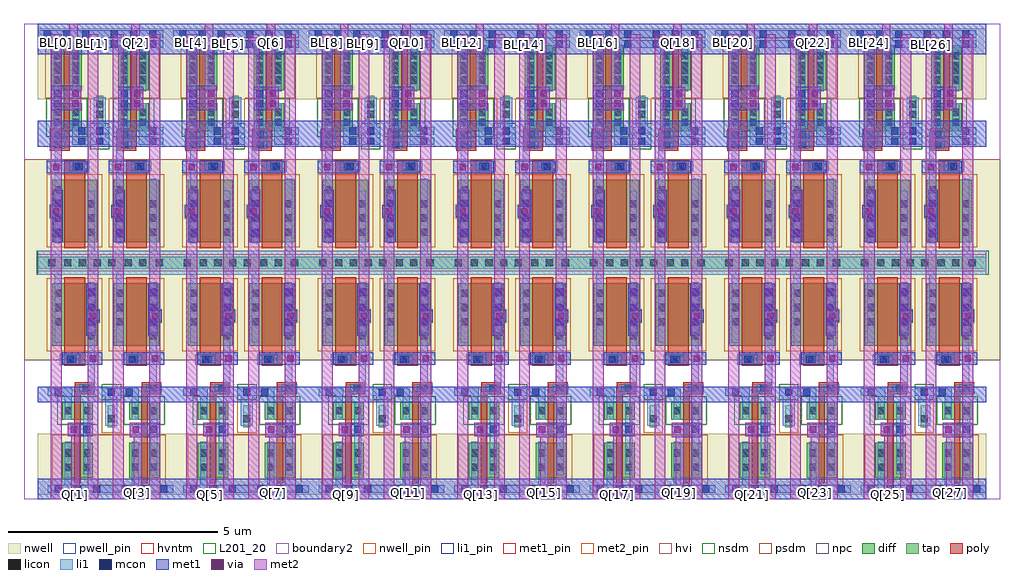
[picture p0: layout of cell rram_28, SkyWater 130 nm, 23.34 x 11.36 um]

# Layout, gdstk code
from math import pi, radians
import gdstk
lib = gdstk.Library(unit=1e-6, precision=1e-09)
def R(c, l, rs):  # rectangles x0, y0, x1, y1
    for r in rs: c.add(gdstk.rectangle(r[:2], r[2:], *l))
nwell_pin = (64, 16)
nwell = (64, 20)
diff = (65, 20)
tap = (65, 44)
poly = (66, 20)
licon = (66, 44)
li1_pin = (67, 16)
li1 = (67, 20)
mcon = (67, 44)
met1_pin = (68, 16)
met1 = (68, 20)
via = (68, 44)
met2_pin = (69, 16)
met2 = (69, 20)
hvi = (75, 20)
nsdm = (93, 44)
psdm = (94, 20)
npc = (95, 20)
pwell_pin = (122, 16)
hvntm = (125, 20)
L201_20 = (201, 20)
boundary2 = (236, 0)

rram_cell = lib.new_cell('rram_cell')
R(rram_cell, met1_pin, [(-0.16,-0.13,0.16,0.13), (-0.16,-0.13,0.16,0.13), (-0.16,-0.13,0.16,0.13), (-0.16,-0.13,0.16,0.13), (-0.16,-0.13,0.16,0.13), (-0.16,-0.13,0.16,0.13)])
R(rram_cell, met1, [(-0.16,-0.13,0.16,0.13), (-0.16,-0.13,0.16,0.13), (-0.16,-0.13,0.16,0.13), (-0.16,-0.13,0.16,0.13), (-0.16,-0.13,0.16,0.13), (-0.16,-0.13,0.16,0.13)])
R(rram_cell, via, [(-0.075,-0.075,0.075,0.075), (-0.075,-0.075,0.075,0.075)])
R(rram_cell, met2_pin, [(-0.13,-0.16,0.13,0.16), (-0.13,-0.16,0.13,0.16), (-0.13,-0.16,0.13,0.16), (-0.13,-0.16,0.13,0.16), (-0.13,-0.16,0.13,0.16), (-0.13,-0.16,0.13,0.16)])
R(rram_cell, met2, [(-0.13,-0.16,0.13,0.16), (-0.13,-0.16,0.13,0.16), (-0.13,-0.16,0.13,0.16), (-0.13,-0.16,0.13,0.16), (-0.13,-0.16,0.13,0.16), (-0.13,-0.16,0.13,0.16)])
R(rram_cell, L201_20, [(-0.16,-0.16,0.16,0.16), (-0.16,-0.16,0.16,0.16)])
rram_cell.add(gdstk.Label('TE', (0,0), layer=69, texttype=5))
rram_cell.add(gdstk.Label('TE', (0,0), layer=69, texttype=5))
rram_cell.add(gdstk.Label('BE', (0,0), layer=68, texttype=5))
rram_cell.add(gdstk.Label('BE', (0,0), layer=68, texttype=5))

hv_pfet = lib.new_cell('hv_pfet')
R(hv_pfet, nwell, [(-1.64,-2.3,2.26,2.5), (-1.64,-2.3,2.26,2.5)])
R(hv_pfet, diff, [(-0.97,-1.96,0.11,-0.46), (-0.97,-1.96,0.11,-0.46), (0.51,-1.96,1.59,-0.46), (0.51,-1.96,1.59,-0.46), (-0.97,0.52,0.11,2.02), (-0.97,0.52,0.11,2.02), (0.51,0.52,1.59,2.02), (0.51,0.52,1.59,2.02)])
R(hv_pfet, tap, [(-1.31,-0.115,1.93,0.175), (-1.31,-0.115,1.93,0.175)])
R(hv_pfet, poly, [(-0.68,-2.435,-0.18,-0.32), (-0.68,-2.435,-0.18,-0.32), (0.8,-2.435,1.3,-0.32), (0.8,-2.435,1.3,-0.32), (-0.68,0.38,-0.18,2.495), (-0.68,0.38,-0.18,2.495), (0.8,0.38,1.3,2.495), (0.8,0.38,1.3,2.495)])
R(hv_pfet, licon, [(-0.555,-2.365,-0.385,-2.195), (-0.555,-2.365,-0.385,-2.195), (0.925,-2.365,1.095,-2.195), (0.925,-2.365,1.095,-2.195), (-0.12,-1.805,0.05,-1.635), (-0.12,-1.805,0.05,-1.635), (1.36,-1.805,1.53,-1.635), (1.36,-1.805,1.53,-1.635), (-0.91,-1.465,-0.74,-1.295), (-0.91,-1.465,-0.74,-1.295), (-0.12,-1.465,0.05,-1.295), (-0.12,-1.465,0.05,-1.295), (0.57,-1.465,0.74,-1.295), (0.57,-1.465,0.74,-1.295), (1.36,-1.465,1.53,-1.295), (1.36,-1.465,1.53,-1.295), (-0.91,-1.125,-0.74,-0.955), (-0.91,-1.125,-0.74,-0.955), (-0.12,-1.125,0.05,-0.955), (-0.12,-1.125,0.05,-0.955), (0.57,-1.125,0.74,-0.955), (0.57,-1.125,0.74,-0.955), (1.36,-1.125,1.53,-0.955), (1.36,-1.125,1.53,-0.955), (-0.91,-0.785,-0.74,-0.615), (-0.91,-0.785,-0.74,-0.615), (-0.12,-0.785,0.05,-0.615), (-0.12,-0.785,0.05,-0.615), (0.57,-0.785,0.74,-0.615), (0.57,-0.785,0.74,-0.615), (1.36,-0.785,1.53,-0.615), (1.36,-0.785,1.53,-0.615), (-1.065,-0.055,-0.895,0.115), (-1.065,-0.055,-0.895,0.115), (-0.675,-0.055,-0.505,0.115), (-0.675,-0.055,-0.505,0.115), (-0.325,-0.055,-0.155,0.115), (-0.325,-0.055,-0.155,0.115), (0.025,-0.055,0.195,0.115), (0.025,-0.055,0.195,0.115), (0.375,-0.055,0.545,0.115), (0.375,-0.055,0.545,0.115), (0.765,-0.055,0.935,0.115), (0.765,-0.055,0.935,0.115), (1.115,-0.055,1.285,0.115), (1.115,-0.055,1.285,0.115), (1.505,-0.055,1.675,0.115), (1.505,-0.055,1.675,0.115), (-0.91,0.675,-0.74,0.845), (-0.91,0.675,-0.74,0.845), (-0.12,0.675,0.05,0.845), (-0.12,0.675,0.05,0.845), (0.57,0.675,0.74,0.845), (0.57,0.675,0.74,0.845), (1.36,0.675,1.53,0.845), (1.36,0.675,1.53,0.845), (-0.91,1.015,-0.74,1.185), (-0.91,1.015,-0.74,1.185), (-0.12,1.015,0.05,1.185), (-0.12,1.015,0.05,1.185), (0.57,1.015,0.74,1.185), (0.57,1.015,0.74,1.185), (1.36,1.015,1.53,1.185), (1.36,1.015,1.53,1.185), (-0.91,1.355,-0.74,1.525), (-0.91,1.355,-0.74,1.525), (-0.12,1.355,0.05,1.525), (-0.12,1.355,0.05,1.525), (0.57,1.355,0.74,1.525), (0.57,1.355,0.74,1.525), (1.36,1.355,1.53,1.525), (1.36,1.355,1.53,1.525), (-0.91,1.695,-0.74,1.865), (-0.91,1.695,-0.74,1.865), (0.57,1.695,0.74,1.865), (0.57,1.695,0.74,1.865), (-0.475,2.255,-0.305,2.425), (-0.475,2.255,-0.305,2.425), (1.005,2.255,1.175,2.425), (1.005,2.255,1.175,2.425)])
R(hv_pfet, li1_pin, [(-0.12,-2.3,0.05,-0.44), (-0.12,-2.3,0.05,-0.44), (1.36,-2.3,1.53,-0.44), (1.36,-2.3,1.53,-0.44), (-1.31,-0.26,1.93,0.32), (-1.31,-0.26,1.93,0.32), (-0.91,0.5,-0.74,2.36), (-0.91,0.5,-0.74,2.36), (0.57,0.5,0.74,2.36), (0.57,0.5,0.74,2.36)])
R(hv_pfet, li1, [(-0.78,-2.41,-0.3,-2.16), (-0.78,-2.41,-0.3,-2.16), (0.7,-2.41,1.18,-2.16), (0.7,-2.41,1.18,-2.16), (-0.12,-2.3,0.05,-0.44), (-0.12,-2.3,0.05,-0.44), (1.36,-2.3,1.53,-0.44), (1.36,-2.3,1.53,-0.44), (-0.91,-1.88,-0.74,0.12), (-0.91,-1.88,-0.74,0.12), (0.57,-1.87,0.74,0.13), (0.57,-1.87,0.74,0.13), (-1.31,-0.26,1.93,0.32), (-1.31,-0.26,1.93,0.32), (-0.91,-0.095,1.53,0.155), (-0.91,-0.095,1.53,0.155), (-0.12,-0.07,0.05,1.75), (-0.12,-0.07,0.05,1.75), (1.36,-0.06,1.53,2.04), (1.36,-0.06,1.53,2.04), (-0.91,0.5,-0.74,2.36), (-0.91,0.5,-0.74,2.36), (0.57,0.5,0.74,2.36), (0.57,0.5,0.74,2.36), (-0.56,2.22,-0.08,2.47), (-0.56,2.22,-0.08,2.47), (0.92,2.22,1.4,2.47), (0.92,2.22,1.4,2.47)])
R(hv_pfet, mcon, [(-0.62,-2.365,-0.45,-2.195), (-0.62,-2.365,-0.45,-2.195), (0.86,-2.365,1.03,-2.195), (0.86,-2.365,1.03,-2.195), (-0.12,-1.475,0.05,-1.305), (-0.12,-1.475,0.05,-1.305), (1.36,-1.475,1.53,-1.305), (1.36,-1.475,1.53,-1.305), (-0.12,-1.115,0.05,-0.945), (-0.12,-1.115,0.05,-0.945), (1.36,-1.115,1.53,-0.945), (1.36,-1.115,1.53,-0.945), (-0.12,-0.755,0.05,-0.585), (-0.12,-0.755,0.05,-0.585), (1.36,-0.755,1.53,-0.585), (1.36,-0.755,1.53,-0.585), (-0.91,0.645,-0.74,0.815), (-0.91,0.645,-0.74,0.815), (0.57,0.645,0.74,0.815), (0.57,0.645,0.74,0.815), (-0.91,1.005,-0.74,1.175), (-0.91,1.005,-0.74,1.175), (0.57,1.005,0.74,1.175), (0.57,1.005,0.74,1.175), (-0.91,1.365,-0.74,1.535), (-0.91,1.365,-0.74,1.535), (0.57,1.365,0.74,1.535), (0.57,1.365,0.74,1.535), (-0.41,2.255,-0.24,2.425), (-0.41,2.255,-0.24,2.425), (1.07,2.255,1.24,2.425), (1.07,2.255,1.24,2.425)])
R(hv_pfet, met1, [(-0.73,-2.41,0.23,-2.11), (-0.73,-2.41,0.23,-2.11), (0.75,-2.41,1.71,-2.11), (0.75,-2.41,1.71,-2.11), (-0.15,-1.72,0.08,-0.46), (-0.15,-1.72,0.08,-0.46), (1.33,-1.72,1.56,-0.46), (1.33,-1.72,1.56,-0.46), (-0.94,0.52,-0.71,1.78), (-0.94,0.52,-0.71,1.78), (0.54,0.52,0.77,1.78), (0.54,0.52,0.77,1.78), (-1.09,2.17,-0.13,2.47), (-1.09,2.17,-0.13,2.47), (0.39,2.17,1.35,2.47), (0.39,2.17,1.35,2.47)])
R(hv_pfet, via, [(-0.065,-2.335,0.085,-2.185), (-0.065,-2.335,0.085,-2.185), (1.415,-2.335,1.565,-2.185), (1.415,-2.335,1.565,-2.185), (-0.945,2.245,-0.795,2.395), (-0.945,2.245,-0.795,2.395), (0.535,2.245,0.685,2.395), (0.535,2.245,0.685,2.395)])
R(hv_pfet, met2_pin, [(-1,-5.44,-0.74,5.5), (-1,-5.44,-0.74,5.5), (-0.12,-5.44,0.14,5.5), (-0.12,-5.44,0.14,5.5), (0.48,-5.44,0.74,5.5), (0.48,-5.44,0.74,5.5), (1.36,-5.44,1.62,5.5), (1.36,-5.44,1.62,5.5)])
R(hv_pfet, met2, [(-1,-5.62,-0.74,5.5), (-1,-5.62,-0.74,5.5), (-0.12,-5.62,0.14,5.5), (-0.12,-5.62,0.14,5.5), (0.48,-5.62,0.74,5.5), (0.48,-5.62,0.74,5.5), (1.36,-5.62,1.62,5.5), (1.36,-5.62,1.62,5.5)])
R(hv_pfet, hvi, [(-1.64,-2.3,2.26,2.5), (-1.64,-2.3,2.26,2.5)])
R(hv_pfet, nsdm, [(-1.335,-0.26,1.985,0.32), (-1.335,-0.26,1.985,0.32)])
R(hv_pfet, psdm, [(-1.095,-2.085,0.235,-0.335), (-1.095,-2.085,0.235,-0.335), (0.385,-2.085,1.715,-0.335), (0.385,-2.085,1.715,-0.335), (-1.095,0.395,0.235,2.145), (-1.095,0.395,0.235,2.145), (0.385,0.395,1.715,2.145), (0.385,0.395,1.715,2.145)])
R(hv_pfet, npc, [(-0.595,-2.405,-0.305,-2.165), (-0.595,-2.405,-0.305,-2.165), (0.885,-2.405,1.175,-2.165), (0.885,-2.405,1.175,-2.165), (-0.555,2.225,-0.265,2.465), (-0.555,2.225,-0.265,2.465), (0.925,2.225,1.215,2.465), (0.925,2.225,1.215,2.465)])
R(hv_pfet, hvntm, [(-1.31,-0.17,1.93,0.23), (-1.31,-0.17,1.93,0.23)])
hv_pfet.add(gdstk.Reference(rram_cell, (-0.87,1.26), rotation=pi))
hv_pfet.add(gdstk.Reference(rram_cell, (0.61,1.26), rotation=pi))
hv_pfet.add(gdstk.Reference(rram_cell, (0.01,-1.24), rotation=pi))
hv_pfet.add(gdstk.Reference(rram_cell, (1.49,-1.24), rotation=pi))
hv_pfet.add(gdstk.Reference(rram_cell, (-0.87,1.26), rotation=pi))
hv_pfet.add(gdstk.Reference(rram_cell, (0.61,1.26), rotation=pi))
hv_pfet.add(gdstk.Reference(rram_cell, (0.01,-1.24), rotation=pi))
hv_pfet.add(gdstk.Reference(rram_cell, (1.49,-1.24), rotation=pi))
hv_pfet.add(gdstk.Label('BL[0]', (-0.87,5.28), layer=69, texttype=5))
hv_pfet.add(gdstk.Label('BL[1]', (0.01,5.26), layer=69, texttype=5))
hv_pfet.add(gdstk.Label('BL[2]', (0.62,5.24), layer=69, texttype=5))
hv_pfet.add(gdstk.Label('BL[3]', (1.48,5.2), layer=69, texttype=5))
hv_pfet.add(gdstk.Label('BL[0]', (-0.87,5.28), layer=69, texttype=5))
hv_pfet.add(gdstk.Label('BL[1]', (0.01,5.26), layer=69, texttype=5))
hv_pfet.add(gdstk.Label('BL[2]', (0.62,5.24), layer=69, texttype=5))
hv_pfet.add(gdstk.Label('BL[3]', (1.48,5.2), layer=69, texttype=5))
hv_pfet.add(gdstk.Label('WL', (-1.23,0.04), layer=67, texttype=5))
hv_pfet.add(gdstk.Label('Q[3]', (1.44,-1.81), layer=67, texttype=5))
hv_pfet.add(gdstk.Label('Q[1]', (-0.04,-1.89), layer=67, texttype=5))
hv_pfet.add(gdstk.Label('Q[2]', (0.65,1.99), layer=67, texttype=5))
hv_pfet.add(gdstk.Label('Q[0]', (-0.83,1.98), layer=67, texttype=5))
hv_pfet.add(gdstk.Label('WL', (-1.23,0.04), layer=67, texttype=5))
hv_pfet.add(gdstk.Label('Q[3]', (1.44,-1.81), layer=67, texttype=5))
hv_pfet.add(gdstk.Label('Q[1]', (-0.04,-1.89), layer=67, texttype=5))
hv_pfet.add(gdstk.Label('Q[2]', (0.65,1.99), layer=67, texttype=5))
hv_pfet.add(gdstk.Label('Q[0]', (-0.83,1.98), layer=67, texttype=5))

rram_buff = lib.new_cell('rram_buff')
R(rram_buff, nwell_pin, [(0.145,2.425,0.315,2.595), (0.145,2.425,0.315,2.595), (0.145,2.425,0.315,2.595), (0.145,2.425,0.315,2.595)])
R(rram_buff, nwell, [(0,1.19,3.24,2.65), (0,1.19,3.24,2.65)])
R(rram_buff, diff, [(0.325,0.43,1.055,0.85), (0.325,0.43,1.055,0.85), (1.925,0.43,2.655,0.85), (1.925,0.43,2.655,0.85), (0.325,1.4,1.055,2.24), (0.325,1.4,1.055,2.24), (1.925,1.4,2.655,2.24), (1.925,1.4,2.655,2.24)])
R(rram_buff, tap, [(1.395,0.51,1.565,1.035), (1.395,0.51,1.565,1.035)])
R(rram_buff, poly, [(0.29,-0.04,0.76,0.24), (0.29,-0.04,0.76,0.24), (1.89,-0.04,2.36,0.24), (1.89,-0.04,2.36,0.24), (0.615,0.06,0.765,2.1), (0.615,0.06,0.765,2.1), (2.215,0.06,2.365,2.1), (2.215,0.06,2.365,2.1), (0.615,1.285,0.765,2.375), (0.615,1.285,0.765,2.375), (2.215,1.285,2.365,2.375), (2.215,1.285,2.365,2.375)])
R(rram_buff, licon, [(0.395,0.015,0.565,0.185), (0.395,0.015,0.565,0.185), (1.995,0.015,2.165,0.185), (1.995,0.015,2.165,0.185), (0.385,0.555,0.555,0.725), (0.385,0.555,0.555,0.725), (0.825,0.555,0.995,0.725), (0.825,0.555,0.995,0.725), (1.985,0.555,2.155,0.725), (1.985,0.555,2.155,0.725), (2.425,0.555,2.595,0.725), (2.425,0.555,2.595,0.725), (1.395,0.745,1.565,0.915), (1.395,0.745,1.565,0.915), (0.385,1.565,0.555,1.735), (0.385,1.565,0.555,1.735), (0.825,1.565,0.995,1.735), (0.825,1.565,0.995,1.735), (1.985,1.565,2.155,1.735), (1.985,1.565,2.155,1.735), (2.425,1.565,2.595,1.735), (2.425,1.565,2.595,1.735), (0.385,1.905,0.555,2.075), (0.385,1.905,0.555,2.075), (0.825,1.905,0.995,2.075), (0.825,1.905,0.995,2.075), (1.985,1.905,2.155,2.075), (1.985,1.905,2.155,2.075), (2.425,1.905,2.595,2.075), (2.425,1.905,2.595,2.075)])
R(rram_buff, li1, [(0.28,0.01,0.65,0.19), (0.28,0.01,0.65,0.19), (1.88,0.01,2.25,0.19), (1.88,0.01,2.25,0.19), (0.82,0.105,1.38,0.275), (0.82,0.105,1.38,0.275), (2.42,0.105,3,0.275), (2.42,0.105,3,0.275), (0.825,0.11,0.995,0.85), (0.825,0.11,0.995,0.85), (2.425,0.11,2.595,0.85), (2.425,0.11,2.595,0.85), (1.335,0.235,1.625,1), (1.335,0.235,1.625,1), (0.385,0.43,0.555,0.94), (0.385,0.43,0.555,0.94), (1.985,0.43,2.155,0.94), (1.985,0.43,2.155,0.94), (0.385,0.92,0.555,2.18), (0.385,0.92,0.555,2.18), (1.985,0.92,2.155,2.16), (1.985,0.92,2.155,2.16), (0.825,1.38,0.995,2.43), (0.825,1.38,0.995,2.43), (2.425,1.38,2.595,2.43), (2.425,1.38,2.595,2.43), (0,2.425,1.38,2.595), (0,2.425,1.38,2.595), (1.6,2.425,3,2.595), (1.6,2.425,3,2.595)])
R(rram_buff, mcon, [(0.965,0.105,1.135,0.275), (0.965,0.105,1.135,0.275), (1.395,0.105,1.565,0.275), (1.395,0.105,1.565,0.275), (2.665,0.105,2.835,0.275), (2.665,0.105,2.835,0.275), (0.385,0.995,0.555,1.165), (0.385,0.995,0.555,1.165), (1.985,0.995,2.155,1.165), (1.985,0.995,2.155,1.165), (0.145,2.425,0.315,2.595), (0.145,2.425,0.315,2.595), (0.605,2.425,0.775,2.595), (0.605,2.425,0.775,2.595), (1.065,2.425,1.235,2.595), (1.065,2.425,1.235,2.595), (1.745,2.425,1.915,2.595), (1.745,2.425,1.915,2.595), (2.205,2.425,2.375,2.595), (2.205,2.425,2.375,2.595), (2.665,2.425,2.835,2.595), (2.665,2.425,2.835,2.595)])
R(rram_buff, met1_pin, [(1.4,0.125,1.55,0.26), (1.4,0.125,1.55,0.26)])
R(rram_buff, met1, [(0,0.06,3.24,0.43), (0,0.06,3.24,0.43), (0.32,0.93,1.04,1.27), (0.32,0.93,1.04,1.27), (1.92,0.93,2.52,1.25), (1.92,0.93,2.52,1.25), (0,2.27,3.24,2.75), (0,2.27,3.24,2.75)])
R(rram_buff, via, [(0.825,1.015,0.975,1.165), (0.825,1.015,0.975,1.165), (2.305,1.015,2.455,1.165), (2.305,1.015,2.455,1.165)])
R(rram_buff, met2, [(0.75,0.93,0.95,2.75), (0.75,0.93,0.95,2.75), (0.75,0.93,1.04,1.27), (0.75,0.93,1.04,1.27), (2.24,0.93,2.44,2.75), (2.24,0.93,2.44,2.75), (2.24,0.93,2.52,1.25), (2.24,0.93,2.52,1.25)])
R(rram_buff, nsdm, [(1.25,0,1.71,0.38), (1.25,0,1.71,0.38), (0.2,0.295,1.18,0.975), (0.2,0.295,1.18,0.975), (1.8,0.295,2.78,0.975), (1.8,0.295,2.78,0.975)])
R(rram_buff, psdm, [(1.25,0.38,1.71,1.165), (1.25,0.38,1.71,1.165), (0.18,1.215,2.9,2.425), (0.18,1.215,2.9,2.425)])
R(rram_buff, npc, [(0.295,0.015,0.755,0.185), (0.295,0.015,0.755,0.185), (1.895,0.015,2.355,0.185), (1.895,0.015,2.355,0.185)])
R(rram_buff, pwell_pin, [(0.965,0.105,1.135,0.275), (0.965,0.105,1.135,0.275), (0.965,0.105,1.135,0.275), (0.965,0.105,1.135,0.275)])
rram_buff.add(gdstk.FlexPath([(1.71,2.51),(1.25,2.51)], 0.17, ends="flush", simple_path=True, layer=67, datatype=20))  # li1
rram_buff.add(gdstk.FlexPath([(1.71,0.19),(1.25,0.19)], 0.17, ends="flush", simple_path=True, layer=67, datatype=20))  # li1
rram_buff.add(gdstk.FlexPath([(1.71,2.51),(1.25,2.51)], 0.17, ends="flush", simple_path=True, layer=67, datatype=20))  # li1
rram_buff.add(gdstk.FlexPath([(1.71,0.19),(1.25,0.19)], 0.17, ends="flush", simple_path=True, layer=67, datatype=20))  # li1
rram_buff.add(gdstk.Label('VNB', (1.05,0.19), layer=64, texttype=59))
rram_buff.add(gdstk.Label('VNB', (1.05,0.19), layer=64, texttype=59))
rram_buff.add(gdstk.Label('VPB', (0.23,2.51), layer=64, texttype=5))
rram_buff.add(gdstk.Label('VPB', (0.23,2.51), layer=64, texttype=5))
rram_buff.add(gdstk.Label('VGND', (1.05,0.19), layer=68, texttype=5))
rram_buff.add(gdstk.Label('VPWR', (1.48,2.51), layer=68, texttype=5))
rram_buff.add(gdstk.Label('VGND', (1.48,0.19), layer=68, texttype=5))
rram_buff.add(gdstk.Label('VGND', (1.05,0.19), layer=68, texttype=5))
rram_buff.add(gdstk.Label('VPWR', (1.48,2.51), layer=68, texttype=5))
rram_buff.add(gdstk.Label('VGND', (1.48,0.19), layer=68, texttype=5))
rram_buff.add(gdstk.Label('tapvgnd_1', (1.71,0.19), layer=83, texttype=44))
rram_buff.add(gdstk.Label('tapvgnd_1', (1.71,0.19), layer=83, texttype=44))

rram_4 = lib.new_cell('rram_4')
R(rram_4, li1, [(1.19,2.58,1.36,3.14), (1.19,2.58,1.36,3.14), (2.67,2.58,2.84,3.14), (2.67,2.58,2.84,3.14), (1.19,3.14,1.36,3.35), (1.19,3.14,1.36,3.35), (2.67,3.14,2.84,3.35), (2.67,3.14,2.84,3.35), (0.4,7.8,0.57,8.27), (0.4,7.8,0.57,8.27), (1.88,7.8,2.05,8.23), (1.88,7.8,2.05,8.23), (1.88,8.23,2.05,8.38), (1.88,8.23,2.05,8.69), (0.4,8.27,0.57,8.7), (0.4,8.27,0.57,8.38)])
R(rram_4, boundary2, [(-0.33,0,3.57,11.36), (0,0,3.24,10.94)])
rram_4.add(gdstk.Reference(hv_pfet, (1.31,5.62)))
rram_4.add(gdstk.Reference(hv_pfet, (1.31,5.62)))
rram_4.add(gdstk.Reference(rram_buff, (0,8.37)))
rram_4.add(gdstk.Reference(rram_buff, (0,8.61)))
rram_4.add(gdstk.Reference(rram_buff, (3.24,2.75), rotation=pi))
rram_4.add(gdstk.Reference(rram_buff, (3.24,2.75), rotation=pi))
rram_4.add(gdstk.Label('Q[2]', (2.35,10.72), layer=69, texttype=5))
rram_4.add(gdstk.Label('Q[1]', (0.9,0.2), layer=69, texttype=5))
rram_4.add(gdstk.Label('BL[0]', (0.44,10.72), layer=69, texttype=5))
rram_4.add(gdstk.Label('BL[1]', (1.32,10.7), layer=69, texttype=5))
rram_4.add(gdstk.Label('BL[2]', (1.93,10.68), layer=69, texttype=5))
rram_4.add(gdstk.Label('BL[3]', (2.79,10.64), layer=69, texttype=5))
rram_4.add(gdstk.Label('Q[0]', (0.84,10.71), layer=69, texttype=5))
rram_4.add(gdstk.Label('Q[1]', (0.9,0.2), layer=69, texttype=5))
rram_4.add(gdstk.Label('Q[3]', (2.39,0.25), layer=69, texttype=5))
rram_4.add(gdstk.Label('Q[0]', (0.84,10.71), layer=69, texttype=5))
rram_4.add(gdstk.Label('Q[3]', (2.35,10.72), layer=69, texttype=5))
rram_4.add(gdstk.Label('Q[3]', (2.39,0.25), layer=69, texttype=5))
rram_4.add(gdstk.Label('Q[2]', (2.35,10.72), layer=69, texttype=5))
rram_4.add(gdstk.Label('Q[1]', (0.9,0.2), layer=69, texttype=5))
rram_4.add(gdstk.Label('BL[0]', (0.44,10.72), layer=69, texttype=5))
rram_4.add(gdstk.Label('BL[1]', (1.32,10.7), layer=69, texttype=5))
rram_4.add(gdstk.Label('BL[2]', (1.93,10.68), layer=69, texttype=5))
rram_4.add(gdstk.Label('BL[3]', (2.79,10.64), layer=69, texttype=5))
rram_4.add(gdstk.Label('Q[0]', (0.84,10.71), layer=69, texttype=5))
rram_4.add(gdstk.Label('Q[1]', (0.9,0.2), layer=69, texttype=5))
rram_4.add(gdstk.Label('Q[3]', (2.39,0.25), layer=69, texttype=5))
rram_4.add(gdstk.Label('Q[0]', (0.84,10.71), layer=69, texttype=5))
rram_4.add(gdstk.Label('Q[3]', (2.35,10.72), layer=69, texttype=5))
rram_4.add(gdstk.Label('Q[3]', (2.39,0.25), layer=69, texttype=5))
rram_4.add(gdstk.Label('WL', (0.13,5.47), layer=67, texttype=5))
rram_4.add(gdstk.Label('WL', (0.13,5.47), layer=67, texttype=5))
rram_4.add(gdstk.Label('VGND', (1.29,8.59), layer=68, texttype=5))
rram_4.add(gdstk.Label('VPWR', (1.48,10.7), layer=68, texttype=5))
rram_4.add(gdstk.Label('VGND', (1.76,2.56), layer=68, texttype=5))
rram_4.add(gdstk.Label('VPWR', (1.76,0.24), layer=68, texttype=5))
rram_4.add(gdstk.Label('VGND', (1.29,8.59), layer=68, texttype=5))
rram_4.add(gdstk.Label('VPWR', (1.48,10.7), layer=68, texttype=5))
rram_4.add(gdstk.Label('VGND', (1.76,2.56), layer=68, texttype=5))
rram_4.add(gdstk.Label('VPWR', (1.76,0.24), layer=68, texttype=5))

rram_28 = lib.new_cell('rram_28')
r = gdstk.Reference(rram_4, (0,0)); r.repetition = gdstk.Repetition(1, 1, v1=(0,0), v2=(0,0)); rram_28.add(r)
r = gdstk.Reference(rram_4, (3.24,0)); r.repetition = gdstk.Repetition(1, 1, v1=(0,0), v2=(0,0)); rram_28.add(r)
r = gdstk.Reference(rram_4, (9.72,0)); r.repetition = gdstk.Repetition(1, 1, v1=(0,0), v2=(0,0)); rram_28.add(r)
r = gdstk.Reference(rram_4, (12.96,0)); r.repetition = gdstk.Repetition(1, 1, v1=(0,0), v2=(0,0)); rram_28.add(r)
r = gdstk.Reference(rram_4, (16.2,0)); r.repetition = gdstk.Repetition(1, 1, v1=(0,0), v2=(0,0)); rram_28.add(r)
r = gdstk.Reference(rram_4, (19.44,0)); r.repetition = gdstk.Repetition(1, 1, v1=(0,0), v2=(0,0)); rram_28.add(r)
r = gdstk.Reference(rram_4, (6.48,0)); r.repetition = gdstk.Repetition(1, 1, v1=(0,0), v2=(0,0)); rram_28.add(r)
rram_28.add(gdstk.Label('Q[2]', (2.35,10.91), layer=69, texttype=5))
rram_28.add(gdstk.Label('Q[6]', (5.59,10.91), layer=69, texttype=5))
rram_28.add(gdstk.Label('Q[10]', (8.83,10.91), layer=69, texttype=5))
rram_28.add(gdstk.Label('Q[18]', (15.31,10.91), layer=69, texttype=5))
rram_28.add(gdstk.Label('Q[22]', (18.55,10.91), layer=69, texttype=5))
rram_28.add(gdstk.Label('BL[0]', (0.44,10.91), layer=69, texttype=5))
rram_28.add(gdstk.Label('BL[4]', (3.68,10.91), layer=69, texttype=5))
rram_28.add(gdstk.Label('BL[8]', (6.92,10.91), layer=69, texttype=5))
rram_28.add(gdstk.Label('BL[12]', (10.16,10.91), layer=69, texttype=5))
rram_28.add(gdstk.Label('BL[16]', (13.4,10.91), layer=69, texttype=5))
rram_28.add(gdstk.Label('BL[20]', (16.64,10.91), layer=69, texttype=5))
rram_28.add(gdstk.Label('BL[24]', (19.88,10.91), layer=69, texttype=5))
rram_28.add(gdstk.Label('BL[1]', (1.32,10.89), layer=69, texttype=5))
rram_28.add(gdstk.Label('BL[5]', (4.56,10.89), layer=69, texttype=5))
rram_28.add(gdstk.Label('BL[9]', (7.8,10.89), layer=69, texttype=5))
rram_28.add(gdstk.Label('BL[13]', (11.04,10.89), layer=69, texttype=5))
rram_28.add(gdstk.Label('BL[17]', (14.28,10.89), layer=69, texttype=5))
rram_28.add(gdstk.Label('BL[21]', (17.52,10.89), layer=69, texttype=5))
rram_28.add(gdstk.Label('BL[25]', (20.76,10.89), layer=69, texttype=5))
rram_28.add(gdstk.Label('BL[2]', (1.93,10.87), layer=69, texttype=5))
rram_28.add(gdstk.Label('BL[6]', (5.17,10.87), layer=69, texttype=5))
rram_28.add(gdstk.Label('BL[10]', (8.41,10.87), layer=69, texttype=5))
rram_28.add(gdstk.Label('BL[14]', (11.65,10.87), layer=69, texttype=5))
rram_28.add(gdstk.Label('BL[18]', (14.89,10.87), layer=69, texttype=5))
rram_28.add(gdstk.Label('BL[22]', (18.13,10.87), layer=69, texttype=5))
rram_28.add(gdstk.Label('BL[26]', (21.37,10.87), layer=69, texttype=5))
rram_28.add(gdstk.Label('BL[3]', (2.79,10.83), layer=69, texttype=5))
rram_28.add(gdstk.Label('BL[7]', (6.03,10.83), layer=69, texttype=5))
rram_28.add(gdstk.Label('BL[11]', (9.27,10.83), layer=69, texttype=5))
rram_28.add(gdstk.Label('BL[15]', (12.51,10.83), layer=69, texttype=5))
rram_28.add(gdstk.Label('BL[19]', (15.75,10.83), layer=69, texttype=5))
rram_28.add(gdstk.Label('BL[23]', (18.99,10.83), layer=69, texttype=5))
rram_28.add(gdstk.Label('BL[27]', (22.23,10.83), layer=69, texttype=5))
rram_28.add(gdstk.Label('Q[0]', (0.84,10.9), layer=69, texttype=5))
rram_28.add(gdstk.Label('Q[4]', (4.08,10.9), layer=69, texttype=5))
rram_28.add(gdstk.Label('Q[8]', (7.32,10.9), layer=69, texttype=5))
rram_28.add(gdstk.Label('Q[12]', (10.56,10.9), layer=69, texttype=5))
rram_28.add(gdstk.Label('Q[16]', (13.8,10.9), layer=69, texttype=5))
rram_28.add(gdstk.Label('Q[20]', (17.04,10.9), layer=69, texttype=5))
rram_28.add(gdstk.Label('Q[24]', (20.28,10.9), layer=69, texttype=5))
rram_28.add(gdstk.Label('Q[0]', (0.84,10.9), layer=69, texttype=5))
rram_28.add(gdstk.Label('Q[14]', (12.07,10.91), layer=69, texttype=5))
rram_28.add(gdstk.Label('Q[26]', (21.79,10.91), layer=69, texttype=5))
rram_28.add(gdstk.Label('Q[1]', (0.9,0.1), layer=69, texttype=5))
rram_28.add(gdstk.Label('Q[5]', (4.14,0.1), layer=69, texttype=5))
rram_28.add(gdstk.Label('Q[13]', (10.62,0.1), layer=69, texttype=5))
rram_28.add(gdstk.Label('Q[17]', (13.86,0.1), layer=69, texttype=5))
rram_28.add(gdstk.Label('Q[21]', (17.1,0.1), layer=69, texttype=5))
rram_28.add(gdstk.Label('Q[25]', (20.34,0.1), layer=69, texttype=5))
rram_28.add(gdstk.Label('Q[9]', (7.38,0.1), layer=69, texttype=5))
rram_28.add(gdstk.Label('Q[3]', (2.39,0.15), layer=69, texttype=5))
rram_28.add(gdstk.Label('Q[7]', (5.63,0.15), layer=69, texttype=5))
rram_28.add(gdstk.Label('Q[15]', (12.11,0.15), layer=69, texttype=5))
rram_28.add(gdstk.Label('Q[19]', (15.35,0.15), layer=69, texttype=5))
rram_28.add(gdstk.Label('Q[23]', (18.59,0.15), layer=69, texttype=5))
rram_28.add(gdstk.Label('Q[27]', (21.83,0.15), layer=69, texttype=5))
rram_28.add(gdstk.Label('Q[11]', (8.87,0.15), layer=69, texttype=5))

lib.write_gds('rram_28.gds')
